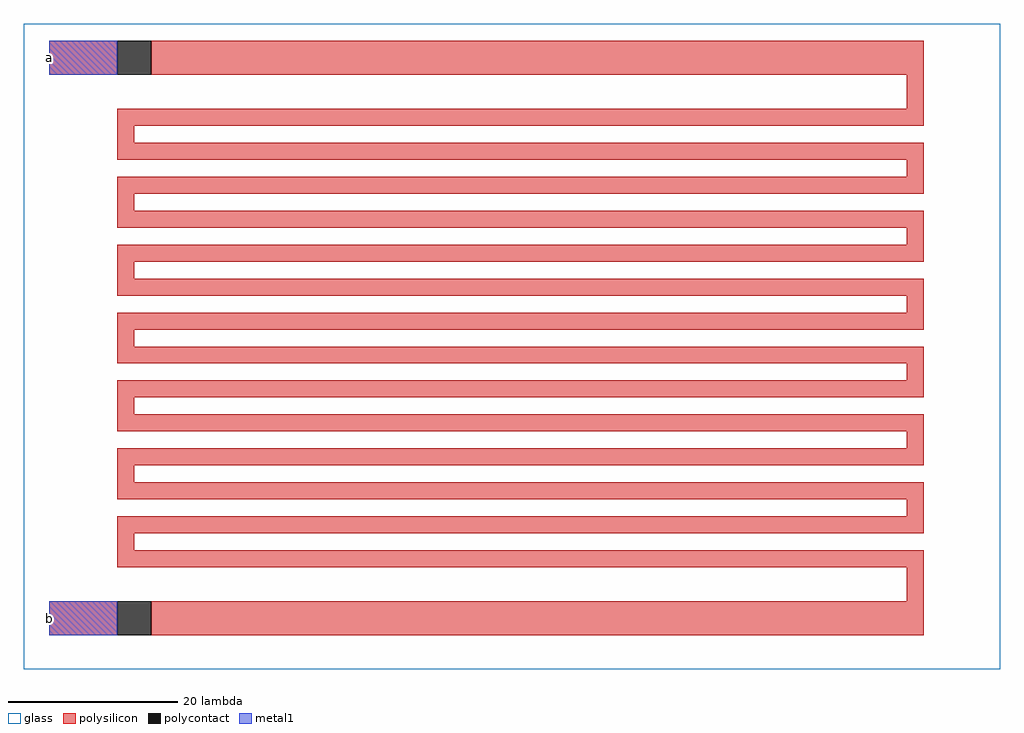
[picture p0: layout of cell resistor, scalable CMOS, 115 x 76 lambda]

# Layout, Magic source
magic
tech scmos
<< polysilicon >>
rect -49 39 -41 43
rect -37 39 54 43
rect 52 35 54 39
rect -41 33 54 35
rect -41 31 -39 33
rect -41 29 54 31
rect 52 27 54 29
rect -41 25 54 27
rect -41 23 -39 25
rect -41 21 54 23
rect 52 19 54 21
rect -41 17 54 19
rect -41 15 -39 17
rect -41 13 54 15
rect 52 11 54 13
rect -41 9 54 11
rect -41 7 -39 9
rect -41 5 54 7
rect 52 3 54 5
rect -41 1 54 3
rect -41 -1 -39 1
rect -41 -3 54 -1
rect 52 -5 54 -3
rect -41 -7 54 -5
rect -41 -9 -39 -7
rect -41 -11 54 -9
rect 52 -13 54 -11
rect -41 -15 54 -13
rect -41 -17 -39 -15
rect -41 -19 54 -17
rect 52 -23 54 -19
rect -49 -27 -41 -23
rect -37 -27 54 -23
<< metal1 >>
rect -49 39 -41 43
rect -49 -27 -41 -23
<< polycontact >>
rect -41 39 -37 43
rect -41 -27 -37 -23
<< glass >>
rect -52 -31 63 45
<< labels >>
rlabel metal1 -49 39 -49 43 4 a
rlabel metal1 -49 -27 -49 -23 2 b
<< end >>
